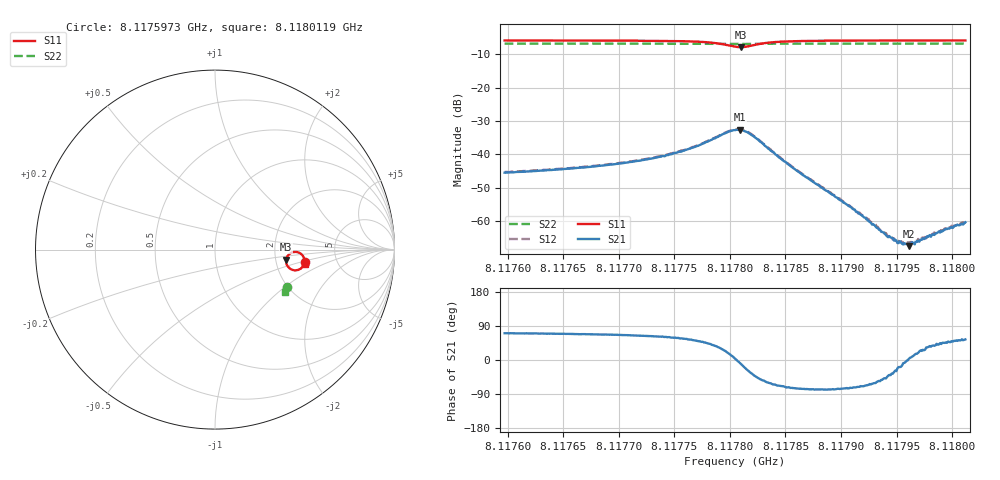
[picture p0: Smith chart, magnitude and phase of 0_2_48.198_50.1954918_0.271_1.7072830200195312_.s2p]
#  HZ  S  RI  R  50.00
! Rohde & Schwarz Vector Network Analyzer
! Rohde-Schwarz,ZNB20-2Port,1311601062101988,3.16
! Created: UTC 3/20/2024, 11:36:00 AM
! freq[Hz]  re:S11  im:S11  re:S21  im:S21  re:S12  im:S12  re:S22  im:S22
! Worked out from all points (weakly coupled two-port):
!   401 points, 8.1175973 GHz to 8.1180119 GHz, reference 50 ohm
!   highest |S21| = -32.60 dB at 8.1178087 GHz (marker M1); lowest = -67.4 dB at 8.1179611 GHz (marker M2)
!   lowest |S11| = -7.9 dB at 8.1178098 GHz (marker M3), VSWR 2.34, Z = 114 - j15.3 ohm
!   |S11| at or under -10 dB: nowhere
!   |S22| runs from -7.0 to -6.9 dB; largest |S21 - S12| = 0.00064
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8.11759726e9  0.5004 -0.0673  0.00179 0.00505  0.00185 0.00515  0.4016 -0.2084
8.11766671e9  0.4978 -0.0769  0.00237 0.00592  0.00246 0.00599  0.3994 -0.2129
8.11770611e9  0.4947 -0.0847  0.00312 0.00688  0.00324 0.00696  0.3979 -0.2157
8.11773617e9  0.4897 -0.0932  0.00434 0.00809  0.00451 0.0082  0.3968 -0.2178
8.11776935e9  0.4733 -0.1083  0.00825 0.0103  0.00844 0.0104  0.3948 -0.2203
8.11779216e9  0.4336 -0.1134  0.0169 0.00977  0.0172 0.00977  0.3922 -0.2213
8.1178046e9  0.3993 -0.0821  0.0231 0.00146  0.0237 0.0015  0.3907 -0.22
8.11780874e9  0.3961 -0.0615  0.0233 -0.00291  0.0236 -0.00315  0.3907 -0.2195
8.11780978e9  0.3966 -0.0562  0.0228 -0.00405  0.0233 -0.00437  0.3907 -0.2192
8.11781496e9  0.407 -0.0325  0.0198 -0.00902  0.0202 -0.00935  0.3914 -0.2186
8.11782015e9  0.4251 -0.0179  0.0155 -0.0116  0.0156 -0.012  0.3923 -0.2184
8.11784088e9  0.4777 -0.0227  0.00423 -0.00911  0.00405 -0.00937  0.394 -0.2206
8.11785747e9  0.491 -0.0368  0.00168 -0.00596  0.00169 -0.00611  0.3939 -0.2222
8.11787405e9  0.4958 -0.0466  0.000885 -0.00389  0.000856 -0.00399  0.3934 -0.224
8.11791034e9  0.499 -0.0599  0.000443 -0.00149  0.000433 -0.00151  0.3923 -0.2267
8.11794351e9  0.4994 -0.0674  0.000468 -0.000385  0.000463 -0.000392  0.3912 -0.229
8.11795077e9  0.4996 -0.0686  0.000441 -0.000179  0.000435 -0.000229  0.3911 -0.2295
8.11795803e9  0.4995 -0.07  0.00046 -4.26e-05  0.000469 -6.01e-05  0.3906 -0.2299
8.11796114e9  0.4995 -0.0705  0.000426 2.47e-05  0.000473 1.83e-05  0.3904 -0.2301
8.11796839e9  0.4995 -0.0716  0.000474 0.000142  0.000482 0.000129  0.3903 -0.2306
8.11799224e9  0.4992 -0.0751  0.000517 0.000523  0.000513 0.000543  0.3895 -0.232
8.11801194e9  0.499 -0.0777  0.000566 0.000788  0.000576 0.000773  0.3889 -0.2335
